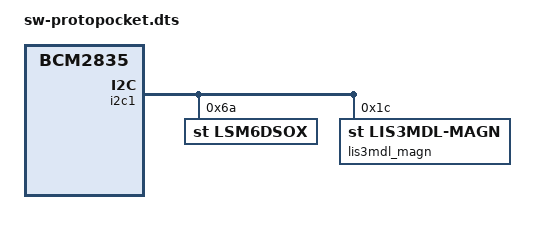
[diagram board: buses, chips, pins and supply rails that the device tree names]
/*
 * Overlay for Sineware Protopocket (Rolling)
 */

/dts-v1/;
/plugin/;

/ {
    compatible = "brcm,bcm2835";

    fragment@0 {
        target = <&i2c1>;
        __overlay__ {
            #address-cells = <1>;
            #size-cells = <0>;
            status = "okay";

            lsm6dsox: lsm6dsox@6a {
                compatible = "st,lsm6dsox";
                reg = <0x6a>;
                status = "okay";

                mount-matrix = "0", "0", "-1",
                                "1", "0", "0",
                                "0", "1", "0";
            };
        };
    };

    fragment@1 {
        target = <&i2c1>;
        __overlay__ {
            #address-cells = <1>;
            #size-cells = <0>;
            status = "okay";

            lis3mdl_magn: lis3mdl-magn@1c {
                compatible = "st,lis3mdl-magn";
                reg = <0x1c>;
                status = "okay";
            };
        };
    };
};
